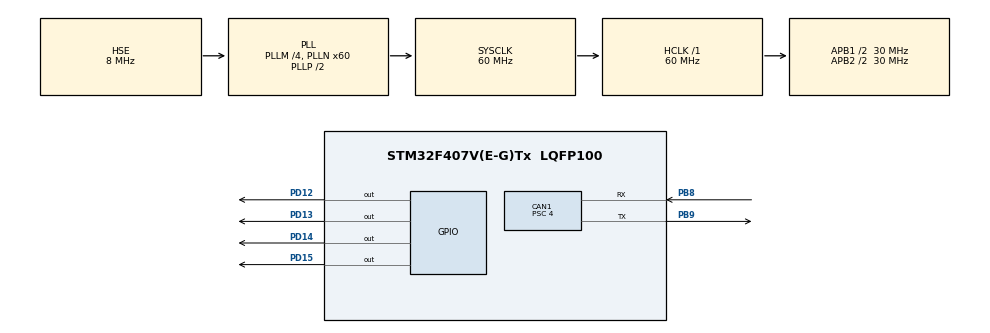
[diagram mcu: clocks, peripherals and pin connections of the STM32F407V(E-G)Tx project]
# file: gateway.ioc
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CAN1.BS1=CAN_BS1_13TQ
CAN1.CalculateBaudRate=499999
CAN1.CalculateTimeBit=2000
CAN1.CalculateTimeQuantum=133.33333333333334
CAN1.Prescaler=4
Mcu.Family=STM32F4
Mcu.Name=STM32F407V(E-G)Tx
Mcu.Package=LQFP100
NVIC.CAN1_RX0_IRQn=true\:0\:0\:false\:false\:true\:true\:true\:true
NVIC.PriorityGroup=NVIC_PRIORITYGROUP_0
PB8.Mode=CAN_Activate
PB8.Signal=CAN1_RX
PB9.Mode=CAN_Activate
PB9.Signal=CAN1_TX
PD12.Signal=GPIO_Output
PD13.Signal=GPIO_Output
PD14.Signal=GPIO_Output
PD15.Signal=GPIO_Output
PH0-OSC_IN.Mode=HSE-External-Oscillator
PH0-OSC_IN.Signal=RCC_OSC_IN
PH1-OSC_OUT.Mode=HSE-External-Oscillator
PH1-OSC_OUT.Signal=RCC_OSC_OUT
ProjectManager.HeapSize=0x200
ProjectManager.StackSize=0x400
ProjectManager.TargetToolchain=STM32CubeIDE
RCC.48MHZClocksFreq_Value=17142857.14285714
RCC.AHBFreq_Value=60000000
RCC.APB1CLKDivider=RCC_HCLK_DIV2
RCC.APB1Freq_Value=30000000
RCC.APB1TimFreq_Value=60000000
RCC.APB2CLKDivider=RCC_HCLK_DIV2
RCC.APB2Freq_Value=30000000
RCC.APB2TimFreq_Value=60000000
RCC.CortexFreq_Value=60000000
RCC.HCLKFreq_Value=60000000
RCC.HSE_VALUE=8000000
RCC.HSI_VALUE=16000000
RCC.LSE_VALUE=32768
RCC.PLLM=4
RCC.PLLN=60
RCC.PLLQ=7
RCC.PLLSourceVirtual=RCC_PLLSOURCE_HSE
RCC.SYSCLKFreq_VALUE=60000000
RCC.SYSCLKSource=RCC_SYSCLKSOURCE_PLLCLK
RCC.VCOOutputFreq_Value=120000000
board=STM32F407G-DISC1

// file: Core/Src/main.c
/* USER CODE BEGIN Header */
/**
  ******************************************************************************
  * @file           : main.c
  * @brief          : Main program body
  ******************************************************************************
  * @attention
  *
  * Copyright (c) 2024 STMicroelectronics.
  * All rights reserved.
  *
  * This software is licensed under terms that can be found in the LICENSE file
  * in the root directory of this software component.
  * If no LICENSE file comes with this software, it is provided AS-IS.
  *
  ******************************************************************************
  */
/* USER CODE END Header */
#include "main.h"
#include "can.h"
#include "gpio.h"

/* USER CODE BEGIN PV */
CAN_RxHeaderTypeDef RxHeader ;
uint8_t message_received[1];
/* USER CODE END PV */

void SystemClock_Config(void);

/* USER CODE BEGIN 0 */
void CAN_Filter_Config(void);
void CAN1_Rx(void);
void HAL_CAN_RxFifo0MsgPendingCallback(CAN_HandleTypeDef *hcan) ;
/* USER CODE END 0 */

int main(void)
{

  /* MCU Configuration--------------------------------------------------------*/

  /* Reset of all peripherals, Initializes the Flash interface and the Systick. */
  HAL_Init();

  /* Configure the system clock */
  SystemClock_Config();

  /* Initialize all configured peripherals */
  MX_GPIO_Init();
  MX_CAN1_Init();
  /* USER CODE BEGIN 2 */
  CAN_Filter_Config();
  HAL_CAN_ActivateNotification(&hcan1, CAN_IT_RX_FIFO0_MSG_PENDING);
  if ( HAL_CAN_Start( &hcan1 ) != HAL_OK)
   {
 	  Error_Handler();
   }

  /* USER CODE END 2 */

  /* Infinite loop */
  while (1)
  {

  }
}

void SystemClock_Config(void)
{
  RCC_OscInitTypeDef RCC_OscInitStruct = {0};
  RCC_ClkInitTypeDef RCC_ClkInitStruct = {0};

  /** Configure the main internal regulator output voltage
  */
  __HAL_RCC_PWR_CLK_ENABLE();
  __HAL_PWR_VOLTAGESCALING_CONFIG(PWR_REGULATOR_VOLTAGE_SCALE1);

  /** Initializes the RCC Oscillators according to the specified parameters
  * in the RCC_OscInitTypeDef structure.
  */
  RCC_OscInitStruct.OscillatorType = RCC_OSCILLATORTYPE_HSE;
  RCC_OscInitStruct.HSEState = RCC_HSE_ON;
  RCC_OscInitStruct.PLL.PLLState = RCC_PLL_ON;
  RCC_OscInitStruct.PLL.PLLSource = RCC_PLLSOURCE_HSE;
  RCC_OscInitStruct.PLL.PLLM = 4;
  RCC_OscInitStruct.PLL.PLLN = 60;
  RCC_OscInitStruct.PLL.PLLP = RCC_PLLP_DIV2;
  RCC_OscInitStruct.PLL.PLLQ = 7;
  if (HAL_RCC_OscConfig(&RCC_OscInitStruct) != HAL_OK)
  {
    Error_Handler();
  }

  /** Initializes the CPU, AHB and APB buses clocks
  */
  RCC_ClkInitStruct.ClockType = RCC_CLOCKTYPE_HCLK|RCC_CLOCKTYPE_SYSCLK
                              |RCC_CLOCKTYPE_PCLK1|RCC_CLOCKTYPE_PCLK2;
  RCC_ClkInitStruct.SYSCLKSource = RCC_SYSCLKSOURCE_PLLCLK;
  RCC_ClkInitStruct.AHBCLKDivider = RCC_SYSCLK_DIV1;
  RCC_ClkInitStruct.APB1CLKDivider = RCC_HCLK_DIV2;
  RCC_ClkInitStruct.APB2CLKDivider = RCC_HCLK_DIV2;

  if (HAL_RCC_ClockConfig(&RCC_ClkInitStruct, FLASH_LATENCY_1) != HAL_OK)
  {
    Error_Handler();
  }
}

/* USER CODE BEGIN 4 */
void CAN1_Rx(void){

/*	while(! HAL_CAN_GetRxFifoFillLevel(&hcan1, CAN_RX_FIFO0));

	if (HAL_CAN_GetRxMessage(&hcan1,  CAN_RX_FIFO0 , &RxHeader,  message_received) != HAL_OK)
	{
		Error_Handler();
	}*/

	if( RxHeader.RTR == 0){
		if( message_received[0]==1){
			HAL_GPIO_WritePin(GPIOD, GPIO_PIN_15,GPIO_PIN_RESET);
			HAL_GPIO_WritePin(GPIOD, GPIO_PIN_13,GPIO_PIN_RESET);
			HAL_GPIO_WritePin(GPIOD, GPIO_PIN_14,GPIO_PIN_RESET);
			HAL_GPIO_WritePin(GPIOD, GPIO_PIN_12,GPIO_PIN_SET);
			HAL_Delay(100);
		}
		else if( message_received[0]==2){
			HAL_GPIO_WritePin(GPIOD, GPIO_PIN_13,GPIO_PIN_SET);
			HAL_GPIO_WritePin(GPIOD, GPIO_PIN_12,GPIO_PIN_RESET);
			HAL_GPIO_WritePin(GPIOD, GPIO_PIN_15,GPIO_PIN_RESET);
			HAL_GPIO_WritePin(GPIOD, GPIO_PIN_14,GPIO_PIN_RESET);
			HAL_Delay(100);
		}
		else if( message_received[0]==3){
			HAL_GPIO_WritePin(GPIOD, GPIO_PIN_13,GPIO_PIN_RESET);
			HAL_GPIO_WritePin(GPIOD, GPIO_PIN_15,GPIO_PIN_RESET);
			HAL_GPIO_WritePin(GPIOD, GPIO_PIN_12,GPIO_PIN_RESET);
			HAL_GPIO_WritePin(GPIOD, GPIO_PIN_14,GPIO_PIN_SET);
			HAL_Delay(100);
		}
		else if( message_received[0]==4){
		  	HAL_GPIO_WritePin(GPIOD, GPIO_PIN_15,GPIO_PIN_SET);
		  	HAL_GPIO_WritePin(GPIOD, GPIO_PIN_14,GPIO_PIN_RESET);
		  	HAL_GPIO_WritePin(GPIOD, GPIO_PIN_13,GPIO_PIN_RESET);
		  	HAL_GPIO_WritePin(GPIOD, GPIO_PIN_12,GPIO_PIN_RESET);
		  	HAL_Delay(100);
		}

	}
	//		if we want to know the gateway is receiving from any node we can add this code

			if( RxHeader.StdId==1)
			{
				HAL_GPIO_TogglePin(GPIOD,  GPIO_PIN_15);
				HAL_GPIO_TogglePin(GPIOD,  GPIO_PIN_14);
				HAL_GPIO_TogglePin(GPIOD,  GPIO_PIN_13);
				HAL_GPIO_TogglePin(GPIOD,  GPIO_PIN_12);
			}

}

void CAN_Filter_Config(void){
	CAN_FilterTypeDef can1_filter_init;

	can1_filter_init.FilterActivation= ENABLE;
	can1_filter_init.FilterBank = 0;
	can1_filter_init.FilterFIFOAssignment= CAN_RX_FIFO0 ;
	can1_filter_init.FilterIdHigh=0x0000;
	can1_filter_init.FilterIdLow =0x0000;
	can1_filter_init.FilterMaskIdHigh=0x0000;
	can1_filter_init.FilterMaskIdLow=0x0000;
	can1_filter_init.FilterMode=CAN_FILTERMODE_IDMASK;
	can1_filter_init.FilterScale=CAN_FILTERSCALE_32BIT ;
	can1_filter_init.SlaveStartFilterBank=14;
	if( HAL_CAN_ConfigFilter(&hcan1, &can1_filter_init) != HAL_OK){

		Error_Handler();
	}

}
void HAL_CAN_RxFifo0MsgPendingCallback(CAN_HandleTypeDef *hcan)
{

	 if (HAL_CAN_GetRxMessage(hcan, CAN_RX_FIFO0, &RxHeader, message_received) != HAL_OK)
	  {
	    Error_Handler();
	  }

      CAN1_Rx();
}

/* USER CODE END 4 */

void Error_Handler(void)
{
  __disable_irq();
  while (1)
  {
  }
}
